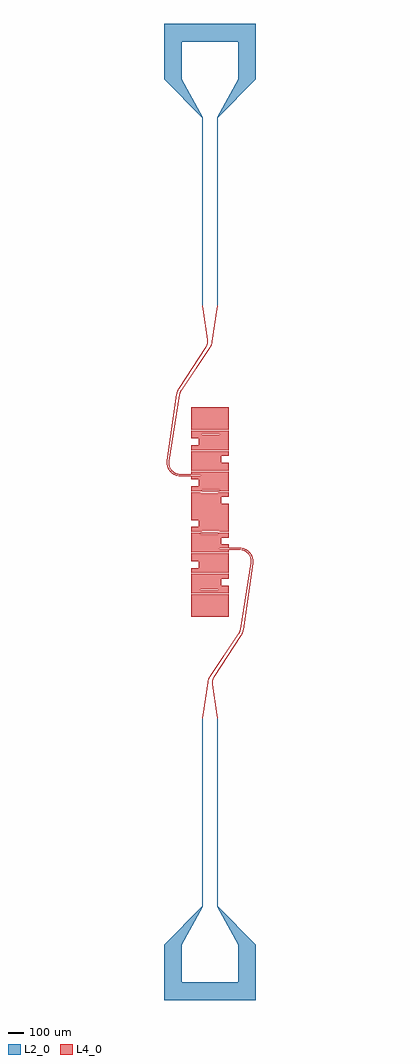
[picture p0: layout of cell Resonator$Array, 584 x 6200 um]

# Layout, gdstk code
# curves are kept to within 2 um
import gdstk
lib = gdstk.Library(unit=1e-6, precision=1e-09)
def R(c, l, rs):  # rectangles x0, y0, x1, y1
    for r in rs: c.add(gdstk.rectangle(r[:2], r[2:], *l))
def P(c, l, *ps):  # polygons
    for p in ps: c.add(gdstk.Polygon(p, *l))
L2_0 = (2, 0)
L4_0 = (4, 0)

resonator_array = lib.new_cell('Resonator$Array')
P(resonator_array, L2_0, [(138.151,1242.5),(138,2444.5),(-106,2686),(-106,3038.5),(478,3038.5),(478,2686),(234,2444.5),(233.849,1242.5),(230.844,1242.5),(231,2445.5),(366,2686),(366,2926.5),(6,2926.5),(6,2686),(141,2445.5),(141.156,1242.5)],
  [(-106,-3161.5),(-106,-2809),(138,-2567.5),(138.151,-1365.5),(141.156,-1365.5),(141,-2568.5),(6,-2809),(6,-3049.5),(366,-3049.5),(366,-2809),(231,-2568.5),(230.844,-1365.5),(233.849,-1365.5),(234,-2567.5),(478,-2809),(478,-3161.5)])
R(resonator_array, L4_0, [(66.5,-725.5,305.5,-584.5), (66.5,461.5,305.5,602.5)])
P(resonator_array, L4_0, [(66.5,331.5),(66.5,362),(114.5,362),(114.5,407),(66.5,407),(66.5,455.5),(247.5,455.5),(247.5,434.5),(132.5,434.5),(132.5,430.5),(243.5,430.5),(243.5,338.5),(132.5,338.5),(132.5,334.5),(247.5,334.5),(247.5,455.5),(305.5,455.5),(305.5,331.5)],
  [(66.5,201.5),(66.5,325.5),(239.5,325.5),(239.5,226.5),(128.5,226.5),(128.5,318.5),(239.5,318.5),(239.5,322.5),(124.5,322.5),(124.5,222.5),(239.5,222.5),(239.5,325.5),(305.5,325.5),(305.5,295),(257.5,295),(257.5,250),(305.5,250),(305.5,201.5)],
  [(66.5,-448.5),(66.5,-418),(114.5,-418),(114.5,-373),(66.5,-373),(66.5,-324.5),(247.5,-324.5),(247.5,-345.5),(132.5,-345.5),(132.5,-349.5),(243.5,-349.5),(243.5,-441.5),(132.5,-441.5),(132.5,-445.5),(247.5,-445.5),(247.5,-324.5),(305.5,-324.5),(305.5,-448.5)],
  [(66.5,-578.5),(66.5,-454.5),(239.5,-454.5),(239.5,-553.5),(128.5,-553.5),(128.5,-461.5),(239.5,-461.5),(239.5,-457.5),(124.5,-457.5),(124.5,-557.5),(239.5,-557.5),(239.5,-454.5),(305.5,-454.5),(305.5,-485),(257.5,-485),(257.5,-530),(305.5,-530),(305.5,-578.5)],
  [(138.014,-1370.5),(139.313,-1353.5),(170.442,-1143.08),(177.153,-1119.641),(184.999,-1105.375),(366.713,-833.714),(375.31,-815.537),(444.401,-383.852),(445.206,-369.54),(443.666,-357.688),(439.23,-344.057),(433.5,-333.568),(426.092,-324.189),(417.215,-316.186),(407.122,-309.785),(396.098,-305.167),(384.456,-302.465),(305.5,-301.08),(305.5,-318.5),(66.5,-318.5),(66.5,-194.5),(305.5,-194.5),(305.5,-225),(257.5,-225),(257.5,-246),(239.5,-246),(239.5,-221.5),(226.5,-221.5),(226.5,-270.5),(219.5,-270.5),(219.5,-221.5),(206.5,-221.5),(206.5,-270.5),(199.5,-270.5),(199.5,-221.5),(186.5,-221.5),(186.5,-270.5),(179.5,-270.5),(179.5,-221.5),(166.5,-221.5),(166.5,-270.5),(159.5,-270.5),(159.5,-221.5),(146.5,-221.5),(146.5,-246),(128.5,-246),(128.5,-201.5),(239.5,-201.5),(239.5,-197.5),(124.5,-197.5),(124.5,-297.5),(239.5,-297.5),(239.5,-293.5),(128.5,-293.5),(128.5,-249),(149.5,-249),(149.5,-224.5),(156.5,-224.5),(156.5,-273.5),(169.5,-273.5),(169.5,-224.5),(176.5,-224.5),(176.5,-273.5),(189.5,-273.5),(189.5,-224.5),(196.5,-224.5),(196.5,-273.5),(209.5,-273.5),(209.5,-224.5),(216.5,-224.5),(216.5,-273.5),(229.5,-273.5),(229.5,-224.5),(236.5,-224.5),(236.5,-249),(257.5,-249),(257.5,-267),(305.5,-267),(305.5,-289.969),(374.632,-289.372),(387.659,-290.257),(407.775,-295.776),(425.942,-306.027),(442.693,-322.44),(454.322,-342.804),(459.633,-362.976),(459.54,-386.427),(398.823,-809.888),(395.263,-825.083),(385.106,-846.133),(212.063,-1111.655),(204.385,-1130.272),(202.716,-1141.366),(202.98,-1152.581),(233.087,-1356.508),(233.986,-1370.5),(230.986,-1370.5),(229.718,-1353.932),(199.967,-1152.479),(199.691,-1140.745),(201.436,-1129.139),(209.469,-1109.664),(382.607,-844.471),(392.079,-825.154),(395.863,-809.449),(457.391,-375.748),(454.547,-352.893),(450.233,-340.815),(444.09,-329.557),(436.266,-319.395),(426.954,-310.577),(416.38,-303.319),(404.804,-297.798),(392.509,-294.15),(377.23,-292.367),(244,-293.5),(244,-297.5),(379.837,-298.918),(391.903,-300.838),(403.488,-304.717),(414.278,-310.449),(423.977,-317.879),(437.867,-334.857),(443.229,-345.835),(446.711,-357.546),(447.974,-379.445),(378.193,-816.384),(369.211,-835.375),(187.519,-1106.618),(179.932,-1120.414),(173.442,-1143.08),(142.282,-1353.932),(141.014,-1370.5)],
  [(66.5,71.5),(66.5,102),(114.5,102),(114.5,123),(135.5,123),(135.5,147.5),(142.5,147.5),(142.5,98.5),(155.5,98.5),(155.5,147.5),(162.5,147.5),(162.5,98.5),(175.5,98.5),(175.5,147.5),(182.5,147.5),(182.5,98.5),(195.5,98.5),(195.5,147.5),(202.5,147.5),(202.5,98.5),(215.5,98.5),(215.5,147.5),(222.5,147.5),(222.5,123),(243.5,123),(243.5,78.5),(132.5,78.5),(132.5,74.5),(247.5,74.5),(247.5,174.5),(132.5,174.5),(132.5,170.5),(243.5,170.5),(243.5,126),(225.5,126),(225.5,150.5),(212.5,150.5),(212.5,101.5),(205.5,101.5),(205.5,150.5),(192.5,150.5),(192.5,101.5),(185.5,101.5),(185.5,150.5),(172.5,150.5),(172.5,101.5),(165.5,101.5),(165.5,150.5),(152.5,150.5),(152.5,101.5),(145.5,101.5),(145.5,150.5),(132.5,150.5),(132.5,126),(114.5,126),(114.5,147),(66.5,147),(66.5,166.969),(-13.067,166.92),(-33.343,171.817),(-51.816,181.506),(-69.064,197.395),(-81.314,217.393),(-87.633,239.976),(-87.54,263.427),(-26.823,686.888),(-23.263,702.083),(-13.106,723.133),(159.937,988.655),(167.615,1007.272),(169.284,1018.366),(169.02,1029.581),(138.913,1233.508),(138.014,1247.5),(141.014,1247.5),(142.282,1230.932),(172.033,1029.479),(172.309,1017.745),(170.564,1006.139),(162.531,986.664),(-10.607,721.471),(-20.079,702.154),(-23.863,686.449),(-85.391,252.748),(-82.547,229.893),(-78.233,217.815),(-72.09,206.557),(-64.266,196.395),(-54.954,187.577),(-44.38,180.319),(-32.804,174.798),(-20.509,171.15),(-5.23,169.367),(128,170.5),(128,174.5),(-7.837,175.918),(-19.903,177.838),(-31.488,181.717),(-42.278,187.449),(-51.977,194.879),(-65.867,211.857),(-71.229,222.835),(-74.711,234.546),(-75.974,256.445),(-6.193,693.384),(2.789,712.375),(184.481,983.618),(192.068,997.414),(198.558,1020.08),(229.718,1230.932),(230.986,1247.5),(233.986,1247.5),(232.687,1230.5),(201.558,1020.08),(194.847,996.641),(187.001,982.375),(5.287,710.714),(-3.31,692.537),(-72.401,260.852),(-73.206,246.54),(-71.666,234.688),(-67.23,221.057),(-61.5,210.568),(-54.092,201.189),(-45.215,193.186),(-35.122,186.785),(-24.098,182.167),(-12.456,179.465),(66.5,178.08),(66.5,195.5),(305.5,195.5),(305.5,71.5)],
  [(66.5,-58.5),(66.5,65.5),(305.5,65.5),(305.5,35),(257.5,35),(257.5,14),(239.5,14),(239.5,38.5),(226.5,38.5),(226.5,-10.5),(219.5,-10.5),(219.5,38.5),(206.5,38.5),(206.5,-10.5),(199.5,-10.5),(199.5,38.5),(186.5,38.5),(186.5,-10.5),(179.5,-10.5),(179.5,38.5),(166.5,38.5),(166.5,-10.5),(159.5,-10.5),(159.5,38.5),(146.5,38.5),(146.5,14),(128.5,14),(128.5,58.5),(239.5,58.5),(239.5,62.5),(124.5,62.5),(124.5,-37.5),(239.5,-37.5),(239.5,-33.5),(128.5,-33.5),(128.5,11),(149.5,11),(149.5,35.5),(156.5,35.5),(156.5,-13.5),(169.5,-13.5),(169.5,35.5),(176.5,35.5),(176.5,-13.5),(189.5,-13.5),(189.5,35.5),(196.5,35.5),(196.5,-13.5),(209.5,-13.5),(209.5,35.5),(216.5,35.5),(216.5,-13.5),(229.5,-13.5),(229.5,35.5),(236.5,35.5),(236.5,11),(257.5,11),(257.5,-10),(305.5,-10),(305.5,-58.5)],
  [(66.5,-188.5),(66.5,-155),(114.5,-155),(114.5,-137),(135.5,-137),(135.5,-112.5),(142.5,-112.5),(142.5,-161.5),(155.5,-161.5),(155.5,-112.5),(162.5,-112.5),(162.5,-161.5),(175.5,-161.5),(175.5,-112.5),(182.5,-112.5),(182.5,-161.5),(195.5,-161.5),(195.5,-112.5),(202.5,-112.5),(202.5,-161.5),(215.5,-161.5),(215.5,-112.5),(222.5,-112.5),(222.5,-137),(243.5,-137),(243.5,-181.5),(132.5,-181.5),(132.5,-185.5),(247.5,-185.5),(247.5,-85.5),(132.5,-85.5),(132.5,-89.5),(243.5,-89.5),(243.5,-134),(225.5,-134),(225.5,-109.5),(212.5,-109.5),(212.5,-158.5),(205.5,-158.5),(205.5,-109.5),(192.5,-109.5),(192.5,-158.5),(185.5,-158.5),(185.5,-109.5),(172.5,-109.5),(172.5,-158.5),(165.5,-158.5),(165.5,-109.5),(152.5,-109.5),(152.5,-158.5),(145.5,-158.5),(145.5,-109.5),(132.5,-109.5),(132.5,-134),(114.5,-134),(114.5,-113),(66.5,-113),(66.5,-64.5),(305.5,-64.5),(305.5,-188.5)])

lib.write_gds('Resonator_Array.gds')
